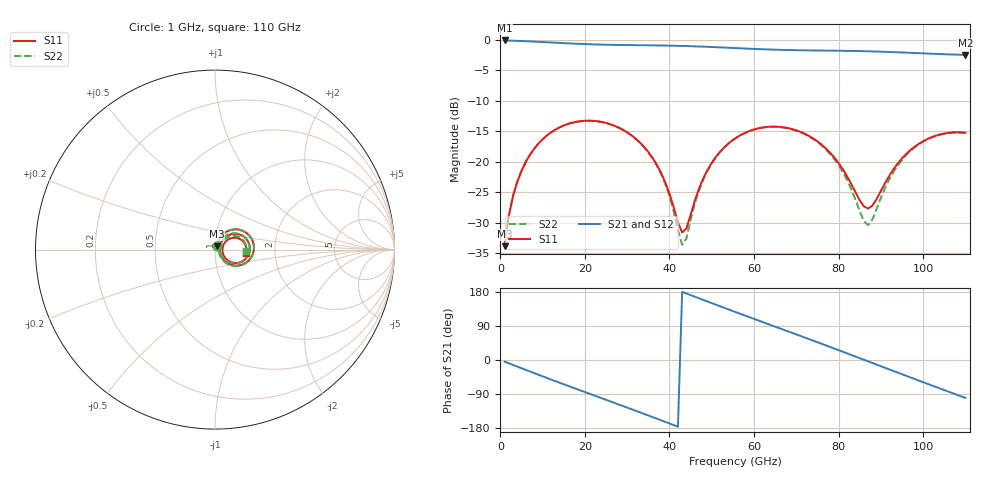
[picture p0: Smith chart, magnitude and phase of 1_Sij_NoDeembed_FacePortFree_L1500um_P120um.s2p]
! Touchstone file exported from HFSS 2024.2.0
!  File:  C:/Users/vaintrug/Documents/Ansoft_Workspace/Comparaison_Calculs_HFSS/1_VarPort.aedt
!  Generated:  03:22:16 PM Jan 21, 2025
!  Design:  1_NoDeembed_FacePortFree
!  Project:  1_VarPort
!  Setup:  Setup1
!  Solution:  Sweep
! Variables:
!  $Lenght = 1500um
!  $PortSize = 120um
!  Gap = 30um
!  Th = 2um
!  X_centralStrip = 20um
!  X_masse = 200um
!  Y_Sub = 1.5mm
!  Z_Box = 400um
!  Z_Sub = 200um
# GHz S MA R 50.000000
! Terminal data exported
! Port[1] = 1
! Port[2] = 2
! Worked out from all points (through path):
!   110 points, 1 GHz to 110 GHz, reference 50 ohm
!   highest |S21| = -0.10 dB at 1 GHz (marker M1); lowest = -2.5 dB at 110 GHz (marker M2)
!   group delay of S21, straight-line fit = 11.6 ps
!   lowest |S11| = -33.8 dB at 1 GHz (marker M3), VSWR 1.04, Z = 50.9 + j1.84 ohm
!   |S11| at or under -10 dB: start of sweep to end of sweep
!   |S22| runs from -33.8 to -13.3 dB; largest |S21 - S12| = 2e-15
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1  0.02038 62.2  0.9891 -4.4  0.9891 -4.4  0.02038 62.1
! Gamma 5.89012319533132 49.9314748361614 5.9892556154897 50.2947506822232
! Port Impedance 50 0 50 0
3  0.05258 69.9  0.9841 -13.1  0.9841 -13.1  0.05258 69.8
7  0.1145 58.6  0.9717 -30.3  0.9717 -30.3  0.1144 58.4
14  0.192 31.6  0.9443 -59.9  0.9443 -59.9  0.1919 31.2
20  0.2173 8.4  0.9239 -84.6  0.9239 -84.6  0.217 7.8
29  0.1833 -24.8  0.9074 -121.5  0.9074 -121.5  0.1827 -26.0
34  0.1326 -41.2  0.9031 -142.2  0.9031 -142.2  0.1317 -43.2
38  0.08147 -49.6  0.8994 -159.0  0.8994 -159.0  0.07983 -53.1
40  0.05488 -47.8  0.8969 -167.5  0.8969 -167.5  0.05241 -52.9
43  0.02638 -6.1  0.8919 179.8  0.8919 179.8  0.02094 -7.7
44  0.02846 21.2  0.8898 175.5  0.8898 175.5  0.0236 26.8
46  0.04824 47.1  0.8852 167.0  0.8852 167.0  0.04565 52.9
49  0.08603 50.5  0.8771 154.3  0.8771 154.3  0.08471 53.8
56  0.1597 32.0  0.8552 125.0  0.8552 125.0  0.159 33.4
65  0.1945 1.7  0.8313 88.0  0.8313 88.0  0.1937 1.8
74  0.1556 -27.1  0.8193 51.1  0.8193 51.1  0.1538 -28.6
80  0.09787 -39.8  0.8146 26.0  0.8146 26.0  0.09407 -43.9
87  0.04142 0.3  0.806 -3.6  0.806 -3.6  0.03035 3.1
92  0.07693 37.2  0.7959 -24.9  0.7959 -24.9  0.07211 46.5
96  0.1161 34.1  0.7859 -41.8  0.7859 -41.8  0.1136 40.9
101  0.154 21.5  0.7727 -62.7  0.7727 -62.7  0.1528 26.8
110  0.1731 -6.1  0.7533 -100.1  0.7533 -100.1  0.1731 -1.9
